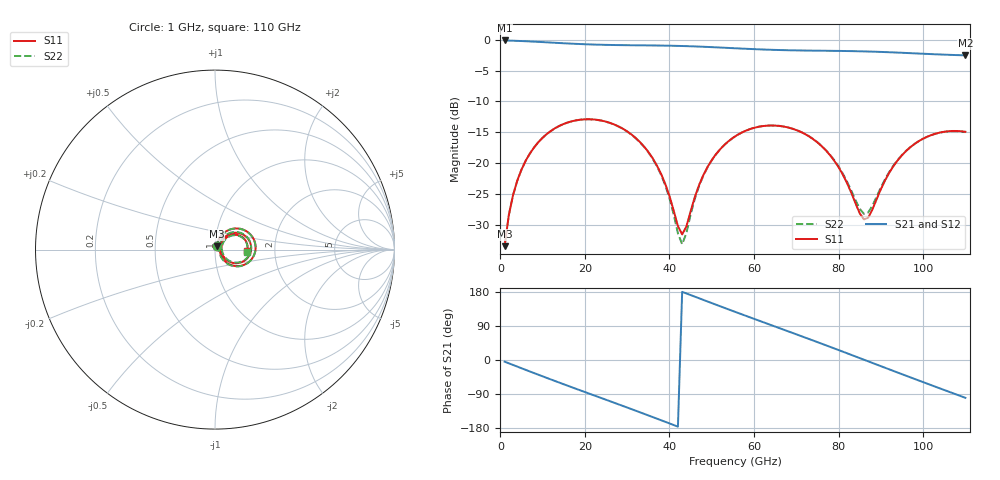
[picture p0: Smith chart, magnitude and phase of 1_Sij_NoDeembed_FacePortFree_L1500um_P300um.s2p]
! Touchstone file exported from HFSS 2024.2.0
!  File:  C:/Users/vaintrug/Documents/Ansoft_Workspace/Comparaison_Calculs_HFSS/1_VarPort.aedt
!  Generated:  03:22:17 PM Jan 21, 2025
!  Design:  1_NoDeembed_FacePortFree
!  Project:  1_VarPort
!  Setup:  Setup1
!  Solution:  Sweep
! Variables:
!  $Lenght = 1500um
!  $PortSize = 300um
!  Gap = 30um
!  Th = 2um
!  X_centralStrip = 20um
!  X_masse = 200um
!  Y_Sub = 1.5mm
!  Z_Box = 400um
!  Z_Sub = 200um
# GHz S MA R 50.000000
! Terminal data exported
! Port[1] = 1
! Port[2] = 2
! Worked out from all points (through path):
!   110 points, 1 GHz to 110 GHz, reference 50 ohm
!   highest |S21| = -0.10 dB at 1 GHz (marker M1); lowest = -2.5 dB at 110 GHz (marker M2)
!   group delay of S21, straight-line fit = 11.6 ps
!   lowest |S11| = -33.5 dB at 1 GHz (marker M3), VSWR 1.04, Z = 50.9 + j1.92 ohm
!   |S11| at or under -10 dB: start of sweep to end of sweep
!   |S22| runs from -33.5 to -12.9 dB; largest |S21 - S12| = 2.1e-15
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1  0.02119 63.0  0.9891 -4.4  0.9891 -4.4  0.02119 63.0
! Gamma 5.97320148996681 49.9884562845136 5.94457833634435 49.8981816324731
! Port Impedance 50 0 50 0
2  0.03797 69.8  0.9866 -8.8  0.9866 -8.8  0.03797 69.8
3  0.05512 70.1  0.984 -13.1  0.984 -13.1  0.05511 70.1
7  0.12 58.5  0.9712 -30.4  0.9712 -30.4  0.12 58.4
14  0.2008 31.4  0.9426 -59.9  0.9426 -59.9  0.2007 31.2
20  0.2267 8.2  0.9218 -84.6  0.9218 -84.6  0.2264 7.9
29  0.19 -25.0  0.906 -121.3  0.906 -121.3  0.1894 -25.6
34  0.1362 -41.3  0.9024 -142.1  0.9024 -142.1  0.1353 -42.6
38  0.08204 -49.6  0.899 -158.9  0.899 -158.9  0.08051 -52.0
43  0.02641 1.3  0.8915 179.9  0.8915 179.9  0.02196 2.5
46  0.05312 49.9  0.8846 167.1  0.8846 167.1  0.05137 54.9
49  0.09304 51.4  0.8761 154.4  0.8761 154.4  0.09228 54.6
56  0.1687 32.1  0.8533 125.1  0.8533 125.1  0.1686 34.1
65  0.2016 1.4  0.829 88.2  0.829 88.2  0.2018 3.0
74  0.1564 -28.0  0.8178 51.3  0.8178 51.3  0.157 -26.2
80  0.09261 -41.2  0.8135 26.2  0.8135 26.2  0.09395 -38.7
86  0.03494 -2.9  0.8062 0.8  0.8062 0.8  0.03874 -2.0
87  0.03605 15.9  0.8045 -3.5  0.8045 -3.5  0.03972 14.5
92  0.08364 46.7  0.7936 -24.7  0.7936 -24.7  0.085 44.4
96  0.1256 40.4  0.7829 -41.6  0.7829 -41.6  0.1262 38.7
101  0.164 26.4  0.7689 -62.6  0.7689 -62.6  0.1639 24.9
110  0.1796 -1.9  0.7489 -99.8  0.7489 -99.8  0.1785 -3.6
